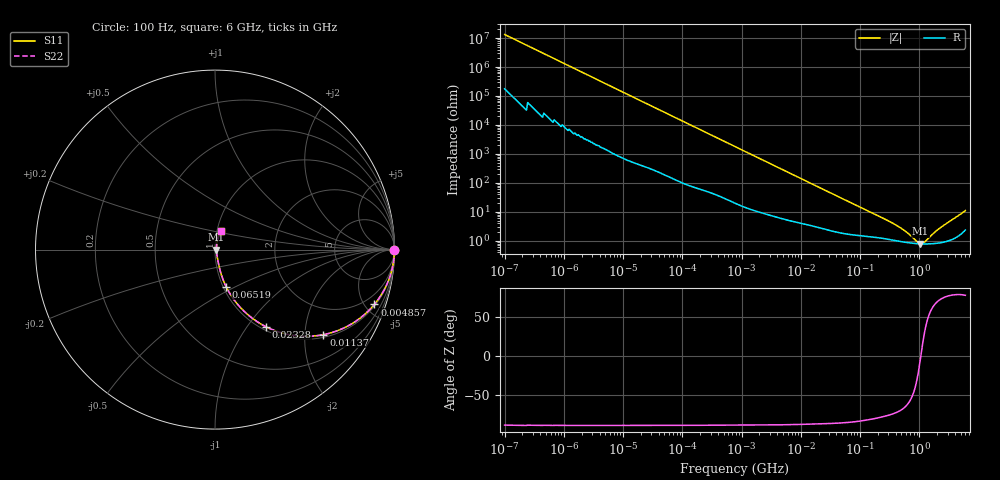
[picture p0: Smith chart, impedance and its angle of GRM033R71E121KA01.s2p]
!Murata Part Number: GRM033R71E121KA01
!These Parameters are Measured in Series Mode Connection
!Data Generated on Mar 30, 2021
!  o--ll--o
!Port1  Port2
!  o------o
!Operation Temp=25[degC], DC Bias Voltage=0[V]
!Freq. Start=100[Hz] Stop=6[GHz] 401[Steps]
# Hz S RI R 50
!Freq.(Hz) S11(Real) S11(Imag) S21(Real) S21(Imag) S12(Real) S12(Imag) S22(Real) S22(Imag)
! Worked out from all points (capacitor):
!   401 points, 100 Hz to 6 GHz, reference 50 ohm
!   read as one part in series: C = 119 pF near 109 Hz
!   lowest |Z| = 795 mohm at 1.047 GHz (marker M1)
!   series resonance near 1.064 GHz, so ESL is about 190 pH
!   S11 on the Smith chart (normalised r, x): 100 Hz: open; 4.857 MHz: 1.12, -5.77; 11.37 MHz: 1.08, -2.49; 23.28 MHz: 1.05, -1.23; 65.19 MHz: 1.03, -0.45; 6 GHz: 1.05, +0.22
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100  1 -7.5e-06  1e-07 7.5e-06  1e-07 7.5e-06  1 -7.5e-06
1227  1 -9.12e-05  6e-07 9.12e-05  6e-07 9.12e-05  1 -9.12e-05
2008  1 -0.000149  9e-07 0.000149  9e-07 0.000149  1 -0.000149
40335  1 -0.00296  2.92e-05 0.00296  2.92e-05 0.00296  1 -0.00296
774597  0.9963 -0.0558  0.00375 0.0558  0.00375 0.0558  0.9963 -0.0558
2074311  0.9763 -0.1453  0.0237 0.1453  0.0237 0.1453  0.9763 -0.1453
4856642  0.8878 -0.3057  0.1122 0.3057  0.1122 0.3057  0.8878 -0.3057
7266822  0.7836 -0.3998  0.2164 0.3998  0.2164 0.3998  0.7836 -0.3998
1.137099e7  0.6043 -0.4739  0.3957 0.4739  0.3957 0.4739  0.6043 -0.4739
1.555665e7  0.4568 -0.4804  0.5432 0.4804  0.5432 0.4804  0.4568 -0.4804
2.327686e7  0.2832 -0.4295  0.7168 0.4295  0.7168 0.4295  0.2832 -0.4295
3.80911e7  0.1388 -0.3197  0.8612 0.3197  0.8612 0.3197  0.1388 -0.3197
6.518806e7  0.0616 -0.2056  0.9384 0.2056  0.9384 0.2056  0.0616 -0.2056
1.334425e8  0.0254 -0.1053  0.9746 0.1053  0.9746 0.1053  0.0254 -0.1053
3.124326e8  0.0131 -0.0447  0.9869 0.0447  0.9869 0.0447  0.0131 -0.0447
5.346885e8  0.00961 -0.0223  0.9904 0.0223  0.9904 0.0223  0.00961 -0.0223
9.150511e8  0.00801 -0.00467  0.992 0.00467  0.992 0.00467  0.00801 -0.00467
1.046602e9  0.00787 -0.000508  0.9921 0.000508  0.9921 0.000508  0.00787 -0.000508
1.251881e9  0.00783 0.00511  0.9922 -0.00511  0.9922 -0.00511  0.00783 0.00511
1.791126e9  0.00833 0.0173  0.9917 -0.0173  0.9917 -0.0173  0.00833 0.0173
2.450438e9  0.00968 0.0301  0.9903 -0.0301  0.9903 -0.0301  0.00968 0.0301
6e9  0.034 0.1024  0.966 -0.1024  0.966 -0.1024  0.034 0.1024
